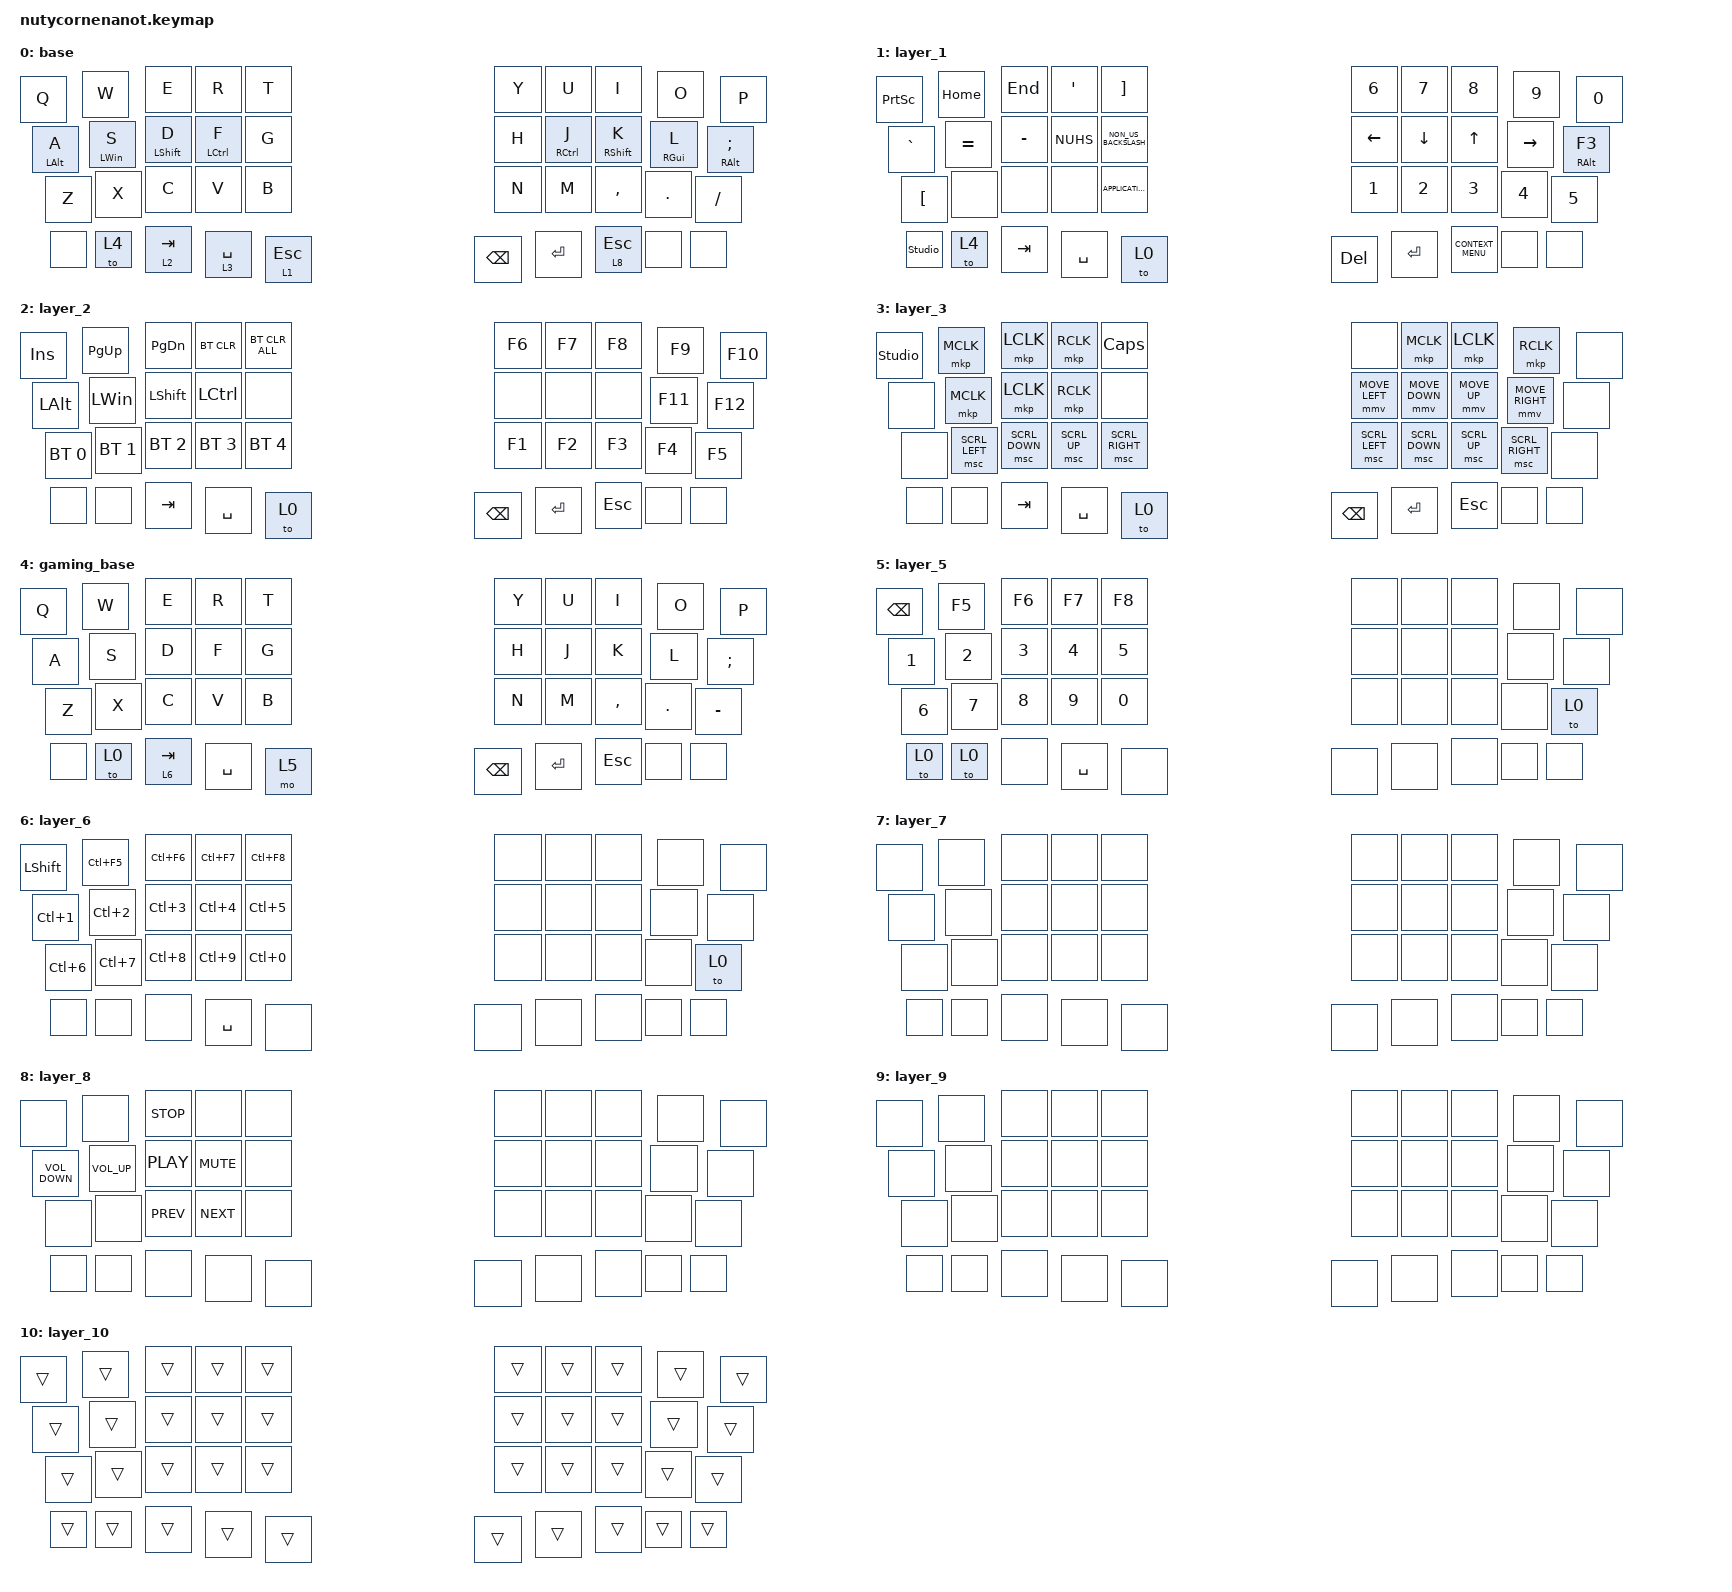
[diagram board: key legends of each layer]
/*
 * Copyright (c) 2020 The ZMK Contributors
 * 
 * SPDX-License-Identifier: MIT
 */

#define ZMK_POINTING_DEFAULT_MOVE_VAL 800  // default: 600
#define ZMK_POINTING_DEFAULT_SCRL_VAL 400    // default: 20

#include <dt-bindings/zmk/input_transform.h>
#include <zephyr/dt-bindings/input/input-event-codes.h>
#include <behaviors.dtsi>
#include <dt-bindings/zmk/bt.h>
#include <dt-bindings/zmk/keys.h>
#include <dt-bindings/zmk/pointing.h>

&mmv { acceleration-exponent = <0>; };

&glidepoint_rh_listener {
    input-processors = <&zip_xy_scaler 2 1>;
};

&glidepoint_rh_listener {

    scroller {
        //layers = <1 3>;
        layers = <1>;
        input-processors =
            <&zip_xy_to_scroll_mapper>,
            <&zip_scroll_scaler (-1) 1>;
    };


};

/ {
    behaviors {
        hm: homerow_mods {
            compatible = "zmk,behavior-hold-tap";
            #binding-cells = <2>;
            tapping-term-ms = <150>;
            flavor = "tap-preferred";
            require-prior-idle-ms = <125>;
            bindings = <&kp>, <&kp>;
        };
    };

    combos {
        compatible = "zmk,combos";

        esc {
            bindings = <&kp ESCAPE>;
            key-positions = <0 1>;
        };
    };

    keymap {
        compatible = "zmk,keymap";

        base {
            bindings = <
  &kp Q           &kp W           &kp E             &kp R        &kp T         &kp Y          &kp U        &kp I              &kp O            &kp P
  &hm LEFT_ALT A  &hm LEFT_WIN S  &hm LEFT_SHIFT D  &hm LCTRL F  &kp G         &kp H          &hm RCTRL J  &hm RIGHT_SHIFT K  &hm RIGHT_GUI L  &hm RIGHT_ALT SEMI
  &kp Z           &kp X           &kp C             &kp V        &kp B         &kp N          &kp M        &kp COMMA          &kp DOT          &kp FSLH
  &none           &to 4           &lt 2 TAB         &lt 3 SPACE  &lt 1 ESCAPE  &kp BACKSPACE  &kp ENTER    &lt 8 ESCAPE       &none            &none
            >;
        };

        layer_1 {
            bindings = <
  &kp PRINTSCREEN   &kp HOME   &kp END    &kp APOS   &kp RBKT              &kp N6      &kp N7     &kp N8              &kp N9     &kp N0
  &kp GRAVE         &kp EQUAL  &kp MINUS  &kp NUHS   &kp NON_US_BACKSLASH  &kp LEFT    &kp DOWN   &kp UP              &kp RIGHT  &hm RIGHT_ALT F3
  &kp LEFT_BRACKET  &none      &none      &none      &kp K_APPLICATION     &kp N1      &kp N2     &kp N3              &kp N4     &kp N5
  &studio_unlock    &to 4      &kp TAB    &kp SPACE  &to 0                 &kp DELETE  &kp ENTER  &kp K_CONTEXT_MENU  &none      &none
            >;
        };

        layer_2 {
            bindings = <
  &kp INSERT    &kp PG_UP     &kp PG_DN       &bt BT_CLR        &bt BT_CLR_ALL  &kp F6         &kp F7     &kp F8   &kp F9   &kp F10
  &kp LEFT_ALT  &kp LEFT_WIN  &kp LEFT_SHIFT  &kp LEFT_CONTROL  &none           &none          &none      &none    &kp F11  &kp F12
  &bt BT_SEL 0  &bt BT_SEL 1  &bt BT_SEL 2    &bt BT_SEL 3      &bt BT_SEL 4    &kp F1         &kp F2     &kp F3   &kp F4   &kp F5
  &none         &none         &kp TAB         &kp SPACE         &to 0           &kp BACKSPACE  &kp ENTER  &kp ESC  &none    &none
            >;
        };

        layer_3 {
            bindings = <
  &studio_unlock  &mkp MCLK       &mkp LCLK       &mkp RCLK     &kp CAPS         &none           &mkp MCLK       &mkp LCLK     &mkp RCLK        &none
  &none           &mkp MCLK       &mkp LCLK       &mkp RCLK     &none            &mmv MOVE_LEFT  &mmv MOVE_DOWN  &mmv MOVE_UP  &mmv MOVE_RIGHT  &none
  &none           &msc SCRL_LEFT  &msc SCRL_DOWN  &msc SCRL_UP  &msc SCRL_RIGHT  &msc SCRL_LEFT  &msc SCRL_DOWN  &msc SCRL_UP  &msc SCRL_RIGHT  &none
  &none           &none           &kp TAB         &kp SPACE     &to 0            &kp BACKSPACE   &kp ENTER       &kp ESC       &none            &none
            >;
        };

        gaming_base {
            bindings = <
  &kp Q  &kp W  &kp E      &kp R      &kp T  &kp Y          &kp U      &kp I       &kp O       &kp P
  &kp A  &kp S  &kp D      &kp F      &kp G  &kp H          &kp J      &kp K       &kp L       &kp SEMICOLON
  &kp Z  &kp X  &kp C      &kp V      &kp B  &kp N          &kp M      &kp COMMA   &kp PERIOD  &kp MINUS
  &none  &to 0  &lt 6 TAB  &kp SPACE  &mo 5  &kp BACKSPACE  &kp ENTER  &kp ESCAPE  &none       &none
            >;
        };

        layer_5 {
            bindings = <
  &kp BACKSPACE  &kp F5        &kp F6        &kp F7        &kp F8  &none  &none  &none  &none  &none
  &kp NUMBER_1   &kp NUMBER_2  &kp NUMBER_3  &kp NUMBER_4  &kp N5  &none  &none  &none  &none  &none
  &kp NUMBER_6   &kp N7        &kp N8        &kp N9        &kp N0  &none  &none  &none  &none  &to 0
  &to 0          &to 0         &none         &kp SPACE     &none   &none  &none  &none  &none  &none
            >;
        };

        layer_6 {
            bindings = <
  &kp LEFT_SHIFT    &kp LC(F5)        &kp LC(F6)        &kp LC(F7)        &kp LC(F8)  &none  &none  &none  &none  &none
  &kp LC(NUMBER_1)  &kp LC(NUMBER_2)  &kp LC(NUMBER_3)  &kp LC(NUMBER_4)  &kp LC(N5)  &none  &none  &none  &none  &none
  &kp LC(NUMBER_6)  &kp LC(N7)        &kp LC(N8)        &kp LC(N9)        &kp LC(N0)  &none  &none  &none  &none  &to 0
  &none             &none             &none             &kp SPACE         &none       &none  &none  &none  &none  &none
            >;
        };

        layer_7 {
            bindings = <
  &none  &none  &none  &none  &none  &none  &none  &none  &none  &none
  &none  &none  &none  &none  &none  &none  &none  &none  &none  &none
  &none  &none  &none  &none  &none  &none  &none  &none  &none  &none
  &none  &none  &none  &none  &none  &none  &none  &none  &none  &none
            >;
        };

        layer_8 {
            bindings = <
  &none              &none            &kp C_STOP  &none       &none  &none  &none  &none  &none  &none
  &kp C_VOLUME_DOWN  &kp C_VOLUME_UP  &kp C_PLAY  &kp C_MUTE  &none  &none  &none  &none  &none  &none
  &none              &none            &kp C_PREV  &kp C_NEXT  &none  &none  &none  &none  &none  &none
  &none              &none            &none       &none       &none  &none  &none  &none  &none  &none
            >;
        };

        layer_9 {
            bindings = <
  &none  &none  &none  &none  &none  &none  &none  &none  &none  &none
  &none  &none  &none  &none  &none  &none  &none  &none  &none  &none
  &none  &none  &none  &none  &none  &none  &none  &none  &none  &none
  &none  &none  &none  &none  &none  &none  &none  &none  &none  &none
            >;
        };

        layer_10 {
            bindings = <
  &trans  &trans  &trans  &trans  &trans  &trans  &trans  &trans  &trans  &trans
  &trans  &trans  &trans  &trans  &trans  &trans  &trans  &trans  &trans  &trans
  &trans  &trans  &trans  &trans  &trans  &trans  &trans  &trans  &trans  &trans
  &trans  &trans  &trans  &trans  &trans  &trans  &trans  &trans  &trans  &trans
            >;
        };
    };
};
